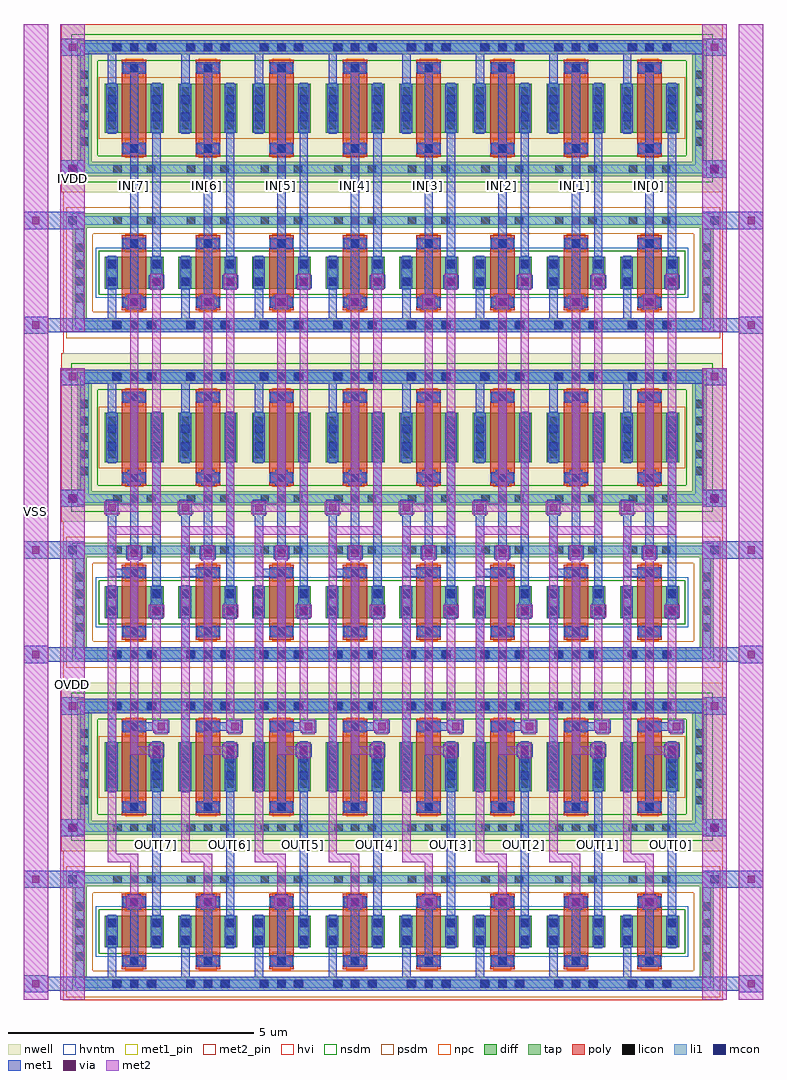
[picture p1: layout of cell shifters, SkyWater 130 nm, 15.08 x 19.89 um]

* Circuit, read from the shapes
.subckt shifters IN[0] IN[1] IN[2] IN[3] IN[4] IN[5] IN[6] IN[7] IVDD OUT[0] OUT[1] OUT[2] OUT[3] OUT[4] OUT[5] OUT[6] OUT[7] OVDD VSS
XM1 OUT[7] shifter_raw_3_0/inverter_raw_0/OUT VSS VSS sky130_fd_pr__nfet_g5v0d10v5 w=0.65 l=0.5
XM2 n1 IN[7] VSS VSS sky130_fd_pr__nfet_g5v0d10v5 w=0.65 l=0.5
XM3 shifter_raw_3_0/inverter_raw_0/OUT IN[7] VSS VSS sky130_fd_pr__nfet_g5v0d10v5 w=0.65 l=0.5
XM4 OUT[6] shifter_raw_3_1/inverter_raw_0/OUT VSS VSS sky130_fd_pr__nfet_g5v0d10v5 w=0.65 l=0.5
XM5 n2 IN[6] VSS VSS sky130_fd_pr__nfet_g5v0d10v5 w=0.65 l=0.5
XM6 shifter_raw_3_1/inverter_raw_0/OUT IN[6] VSS VSS sky130_fd_pr__nfet_g5v0d10v5 w=0.65 l=0.5
XM7 OUT[5] shifter_raw_3_2/inverter_raw_0/OUT VSS VSS sky130_fd_pr__nfet_g5v0d10v5 w=0.65 l=0.5
XM8 n3 IN[5] VSS VSS sky130_fd_pr__nfet_g5v0d10v5 w=0.65 l=0.5
XM9 shifter_raw_3_2/inverter_raw_0/OUT IN[5] VSS VSS sky130_fd_pr__nfet_g5v0d10v5 w=0.65 l=0.5
XM10 OUT[4] shifter_raw_3_3/inverter_raw_0/OUT VSS VSS sky130_fd_pr__nfet_g5v0d10v5 w=0.65 l=0.5
XM11 n4 IN[4] VSS VSS sky130_fd_pr__nfet_g5v0d10v5 w=0.65 l=0.5
XM12 shifter_raw_3_3/inverter_raw_0/OUT IN[4] VSS VSS sky130_fd_pr__nfet_g5v0d10v5 w=0.65 l=0.5
XM13 OUT[3] shifter_raw_3_4/inverter_raw_0/OUT VSS VSS sky130_fd_pr__nfet_g5v0d10v5 w=0.65 l=0.5
XM14 n5 IN[3] VSS VSS sky130_fd_pr__nfet_g5v0d10v5 w=0.65 l=0.5
XM15 shifter_raw_3_4/inverter_raw_0/OUT IN[3] VSS VSS sky130_fd_pr__nfet_g5v0d10v5 w=0.65 l=0.5
XM16 OUT[2] shifter_raw_3_5/inverter_raw_0/OUT VSS VSS sky130_fd_pr__nfet_g5v0d10v5 w=0.65 l=0.5
XM17 n6 IN[2] VSS VSS sky130_fd_pr__nfet_g5v0d10v5 w=0.65 l=0.5
XM18 shifter_raw_3_5/inverter_raw_0/OUT IN[2] VSS VSS sky130_fd_pr__nfet_g5v0d10v5 w=0.65 l=0.5
XM19 OUT[1] shifter_raw_3_6/inverter_raw_0/OUT VSS VSS sky130_fd_pr__nfet_g5v0d10v5 w=0.65 l=0.5
XM20 n7 IN[1] VSS VSS sky130_fd_pr__nfet_g5v0d10v5 w=0.65 l=0.5
XM21 shifter_raw_3_6/inverter_raw_0/OUT IN[1] VSS VSS sky130_fd_pr__nfet_g5v0d10v5 w=0.65 l=0.5
XM22 OUT[0] shifter_raw_3_7/inverter_raw_0/OUT VSS VSS sky130_fd_pr__nfet_g5v0d10v5 w=0.65 l=0.5
XM23 n8 IN[0] VSS VSS sky130_fd_pr__nfet_g5v0d10v5 w=0.65 l=0.5
XM24 shifter_raw_3_7/inverter_raw_0/OUT IN[0] VSS VSS sky130_fd_pr__nfet_g5v0d10v5 w=0.65 l=0.5
XM25 OUT[7] n1 OVDD OVDD sky130_fd_pr__pfet_g5v0d10v5 w=1 l=0.5
XM26 n1 OUT[7] OVDD OVDD sky130_fd_pr__pfet_g5v0d10v5 w=1 l=0.5
XM27 shifter_raw_3_0/inverter_raw_0/OUT IN[7] IVDD IVDD sky130_fd_pr__pfet_g5v0d10v5 w=1 l=0.5
XM28 OUT[6] n2 OVDD OVDD sky130_fd_pr__pfet_g5v0d10v5 w=1 l=0.5
XM29 n2 OUT[6] OVDD OVDD sky130_fd_pr__pfet_g5v0d10v5 w=1 l=0.5
XM30 shifter_raw_3_1/inverter_raw_0/OUT IN[6] IVDD IVDD sky130_fd_pr__pfet_g5v0d10v5 w=1 l=0.5
XM31 OUT[5] n3 OVDD OVDD sky130_fd_pr__pfet_g5v0d10v5 w=1 l=0.5
XM32 n3 OUT[5] OVDD OVDD sky130_fd_pr__pfet_g5v0d10v5 w=1 l=0.5
XM33 shifter_raw_3_2/inverter_raw_0/OUT IN[5] IVDD IVDD sky130_fd_pr__pfet_g5v0d10v5 w=1 l=0.5
XM34 OUT[4] n4 OVDD OVDD sky130_fd_pr__pfet_g5v0d10v5 w=1 l=0.5
XM35 n4 OUT[4] OVDD OVDD sky130_fd_pr__pfet_g5v0d10v5 w=1 l=0.5
XM36 shifter_raw_3_3/inverter_raw_0/OUT IN[4] IVDD IVDD sky130_fd_pr__pfet_g5v0d10v5 w=1 l=0.5
XM37 OUT[3] n5 OVDD OVDD sky130_fd_pr__pfet_g5v0d10v5 w=1 l=0.5
XM38 n5 OUT[3] OVDD OVDD sky130_fd_pr__pfet_g5v0d10v5 w=1 l=0.5
XM39 shifter_raw_3_4/inverter_raw_0/OUT IN[3] IVDD IVDD sky130_fd_pr__pfet_g5v0d10v5 w=1 l=0.5
XM40 OUT[2] n6 OVDD OVDD sky130_fd_pr__pfet_g5v0d10v5 w=1 l=0.5
XM41 n6 OUT[2] OVDD OVDD sky130_fd_pr__pfet_g5v0d10v5 w=1 l=0.5
XM42 shifter_raw_3_5/inverter_raw_0/OUT IN[2] IVDD IVDD sky130_fd_pr__pfet_g5v0d10v5 w=1 l=0.5
XM43 OUT[1] n7 OVDD OVDD sky130_fd_pr__pfet_g5v0d10v5 w=1 l=0.5
XM44 n7 OUT[1] OVDD OVDD sky130_fd_pr__pfet_g5v0d10v5 w=1 l=0.5
XM45 shifter_raw_3_6/inverter_raw_0/OUT IN[1] IVDD IVDD sky130_fd_pr__pfet_g5v0d10v5 w=1 l=0.5
XM46 OUT[0] n8 OVDD OVDD sky130_fd_pr__pfet_g5v0d10v5 w=1 l=0.5
XM47 n8 OUT[0] OVDD OVDD sky130_fd_pr__pfet_g5v0d10v5 w=1 l=0.5
XM48 shifter_raw_3_7/inverter_raw_0/OUT IN[0] IVDD IVDD sky130_fd_pr__pfet_g5v0d10v5 w=1 l=0.5
.ends

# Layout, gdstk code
import gdstk
lib = gdstk.Library(unit=1e-6, precision=1e-09)
def R(c, l, rs):  # rectangles x0, y0, x1, y1
    for r in rs: c.add(gdstk.rectangle(r[:2], r[2:], *l))
def A(c, l, x, y, w, h, nx, ny, dx, dy):  # array of equal rectangles
    R(c, l, [(x+i*dx, y+j*dy, x+i*dx+w, y+j*dy+h) for i in range(nx) for j in range(ny)])
nwell = (64, 20)
diff = (65, 20)
tap = (65, 44)
poly = (66, 20)
licon = (66, 44)
li1 = (67, 20)
mcon = (67, 44)
met1_pin = (68, 16)
met1 = (68, 20)
via = (68, 44)
met2_pin = (69, 16)
met2 = (69, 20)
hvi = (75, 20)
nsdm = (93, 44)
psdm = (94, 20)
npc = (95, 20)
hvntm = (125, 20)

transistor_pair_bus_8 = lib.new_cell('transistor_pair_bus_8')
R(transistor_pair_bus_8, nwell, [(-0.3,3.03,13.18,6.46)])
A(transistor_pair_bus_8, diff, 0.59, 1.065, 1.2, 0.65, 8, 1, 1.5, 0)
A(transistor_pair_bus_8, diff, 0.59, 4.245, 1.2, 1, 8, 1, 1.5, 0)
R(transistor_pair_bus_8, tap, [(-0.07,0.18,13,0.47), (-0.07,0.47,0.22,2.31), (12.71,0.47,13,2.31), (-0.07,2.31,13,2.6), (0.03,3.36,12.85,3.65), (0.03,3.65,0.32,5.84), (12.56,3.65,12.85,5.84), (0.03,5.84,12.85,6.13)])
A(transistor_pair_bus_8, poly, 0.94, 0.625, 0.5, 1.53, 8, 1, 1.5, 0)
A(transistor_pair_bus_8, poly, 0.94, 3.76, 0.5, 1.97, 8, 1, 1.5, 0)
A(transistor_pair_bus_8, licon, 0.765, 0.24, 0.17, 0.17, 3, 2, 0.34, 2.13)
A(transistor_pair_bus_8, licon, 2.265, 0.24, 0.17, 0.17, 3, 2, 0.34, 2.13)
A(transistor_pair_bus_8, licon, 3.765, 0.24, 0.17, 0.17, 3, 2, 0.34, 2.13)
A(transistor_pair_bus_8, licon, 5.265, 0.24, 0.17, 0.17, 3, 2, 0.34, 2.13)
A(transistor_pair_bus_8, licon, 6.765, 0.24, 0.17, 0.17, 3, 2, 0.34, 2.13)
A(transistor_pair_bus_8, licon, 8.265, 0.24, 0.17, 0.17, 3, 2, 0.34, 2.13)
A(transistor_pair_bus_8, licon, 9.765, 0.24, 0.17, 0.17, 3, 2, 0.34, 2.13)
A(transistor_pair_bus_8, licon, 11.265, 0.24, 0.17, 0.17, 3, 2, 0.34, 2.13)
A(transistor_pair_bus_8, licon, 1.105, 0.705, 0.17, 0.17, 8, 2, 1.5, 1.2)
A(transistor_pair_bus_8, licon, -0.01, 0.795, 0.17, 0.17, 1, 4, 0, 0.34)
A(transistor_pair_bus_8, licon, 12.77, 0.795, 0.17, 0.17, 1, 4, 0, 0.34)
A(transistor_pair_bus_8, licon, 0.765, 3.42, 0.17, 0.17, 3, 2, 0.34, 2.48)
A(transistor_pair_bus_8, licon, 2.265, 3.42, 0.17, 0.17, 3, 2, 0.34, 2.48)
A(transistor_pair_bus_8, licon, 3.765, 3.42, 0.17, 0.17, 3, 2, 0.34, 2.48)
A(transistor_pair_bus_8, licon, 5.265, 3.42, 0.17, 0.17, 3, 2, 0.34, 2.48)
A(transistor_pair_bus_8, licon, 6.765, 3.42, 0.17, 0.17, 3, 2, 0.34, 2.48)
A(transistor_pair_bus_8, licon, 8.265, 3.42, 0.17, 0.17, 3, 2, 0.34, 2.48)
A(transistor_pair_bus_8, licon, 9.765, 3.42, 0.17, 0.17, 3, 2, 0.34, 2.48)
A(transistor_pair_bus_8, licon, 11.265, 3.42, 0.17, 0.17, 3, 2, 0.34, 2.48)
A(transistor_pair_bus_8, licon, 1.105, 3.84, 0.17, 0.17, 8, 2, 1.5, 1.64)
A(transistor_pair_bus_8, licon, 0.09, 3.98, 0.17, 0.17, 1, 5, 0, 0.34)
A(transistor_pair_bus_8, licon, 12.62, 3.98, 0.17, 0.17, 1, 5, 0, 0.34)
A(transistor_pair_bus_8, licon, 0.65, 4.32, 0.17, 0.17, 1, 3, 0, 0.34)
A(transistor_pair_bus_8, licon, 1.56, 4.32, 0.17, 0.17, 1, 3, 0, 0.34)
A(transistor_pair_bus_8, licon, 2.15, 4.32, 0.17, 0.17, 1, 3, 0, 0.34)
A(transistor_pair_bus_8, licon, 3.06, 4.32, 0.17, 0.17, 1, 3, 0, 0.34)
A(transistor_pair_bus_8, licon, 3.65, 4.32, 0.17, 0.17, 1, 3, 0, 0.34)
A(transistor_pair_bus_8, licon, 4.56, 4.32, 0.17, 0.17, 1, 3, 0, 0.34)
A(transistor_pair_bus_8, licon, 5.15, 4.32, 0.17, 0.17, 1, 3, 0, 0.34)
A(transistor_pair_bus_8, licon, 6.06, 4.32, 0.17, 0.17, 1, 3, 0, 0.34)
A(transistor_pair_bus_8, licon, 6.65, 4.32, 0.17, 0.17, 1, 3, 0, 0.34)
A(transistor_pair_bus_8, licon, 7.56, 4.32, 0.17, 0.17, 1, 3, 0, 0.34)
A(transistor_pair_bus_8, licon, 8.15, 4.32, 0.17, 0.17, 1, 3, 0, 0.34)
A(transistor_pair_bus_8, licon, 9.06, 4.32, 0.17, 0.17, 1, 3, 0, 0.34)
A(transistor_pair_bus_8, licon, 9.65, 4.32, 0.17, 0.17, 1, 3, 0, 0.34)
A(transistor_pair_bus_8, licon, 10.56, 4.32, 0.17, 0.17, 1, 3, 0, 0.34)
A(transistor_pair_bus_8, licon, 11.15, 4.32, 0.17, 0.17, 1, 3, 0, 0.34)
A(transistor_pair_bus_8, licon, 12.06, 4.32, 0.17, 0.17, 1, 3, 0, 0.34)
R(transistor_pair_bus_8, licon, [(0.65,1.135,0.82,1.305), (1.56,1.135,1.73,1.305), (2.15,1.135,2.32,1.305), (3.06,1.135,3.23,1.305), (3.65,1.135,3.82,1.305), (4.56,1.135,4.73,1.305), (5.15,1.135,5.32,1.305), (6.06,1.135,6.23,1.305), (6.65,1.135,6.82,1.305), (7.56,1.135,7.73,1.305), (8.15,1.135,8.32,1.305), (9.06,1.135,9.23,1.305), (9.65,1.135,9.82,1.305), (10.56,1.135,10.73,1.305), (11.15,1.135,11.32,1.305), (12.06,1.135,12.23,1.305), (0.65,1.475,0.82,1.645), (1.56,1.475,1.73,1.645), (2.15,1.475,2.32,1.645), (3.06,1.475,3.23,1.645), (3.65,1.475,3.82,1.645), (4.56,1.475,4.73,1.645), (5.15,1.475,5.32,1.645), (6.06,1.475,6.23,1.645), (6.65,1.475,6.82,1.645), (7.56,1.475,7.73,1.645), (8.15,1.475,8.32,1.645), (9.06,1.475,9.23,1.645), (9.65,1.475,9.82,1.645), (10.56,1.475,10.73,1.645), (11.15,1.475,11.32,1.645), (12.06,1.475,12.23,1.645)])
A(transistor_pair_bus_8, li1, 0.94, 0.705, 0.5, 0.17, 8, 2, 1.5, 1.2)
A(transistor_pair_bus_8, li1, 0.94, 3.84, 0.5, 0.17, 8, 2, 1.5, 1.64)
R(transistor_pair_bus_8, li1, [(-0.01,0.24,12.94,0.41), (-0.01,0.41,0.16,2.37), (12.77,0.41,12.94,2.37), (0.65,1.045,0.82,1.735), (1.56,1.045,1.73,1.735), (2.15,1.045,2.32,1.735), (3.06,1.045,3.23,1.735), (3.65,1.045,3.82,1.735), (4.56,1.045,4.73,1.735), (5.15,1.045,5.32,1.735), (6.06,1.045,6.23,1.735), (6.65,1.045,6.82,1.735), (7.56,1.045,7.73,1.735), (8.15,1.045,8.32,1.735), (9.06,1.045,9.23,1.735), (9.65,1.045,9.82,1.735), (10.56,1.045,10.73,1.735), (11.15,1.045,11.32,1.735), (12.06,1.045,12.23,1.735), (-0.01,2.37,12.94,2.54), (0.09,3.42,12.79,3.59), (0.09,3.59,0.26,5.9), (12.62,3.59,12.79,5.9), (0.65,4.225,0.82,5.265), (1.56,4.225,1.73,5.265), (2.15,4.225,2.32,5.265), (3.06,4.225,3.23,5.265), (3.65,4.225,3.82,5.265), (4.56,4.225,4.73,5.265), (5.15,4.225,5.32,5.265), (6.06,4.225,6.23,5.265), (6.65,4.225,6.82,5.265), (7.56,4.225,7.73,5.265), (8.15,4.225,8.32,5.265), (9.06,4.225,9.23,5.265), (9.65,4.225,9.82,5.265), (10.56,4.225,10.73,5.265), (11.15,4.225,11.32,5.265), (12.06,4.225,12.23,5.265), (0.09,5.9,12.79,6.07)])
A(transistor_pair_bus_8, mcon, 0.745, 0.24, 0.17, 0.17, 3, 2, 0.36, 5.66)
A(transistor_pair_bus_8, mcon, 2.245, 0.24, 0.17, 0.17, 3, 2, 0.36, 5.66)
A(transistor_pair_bus_8, mcon, 3.745, 0.24, 0.17, 0.17, 3, 2, 0.36, 5.66)
A(transistor_pair_bus_8, mcon, 5.245, 0.24, 0.17, 0.17, 3, 2, 0.36, 5.66)
A(transistor_pair_bus_8, mcon, 6.745, 0.24, 0.17, 0.17, 3, 2, 0.36, 5.66)
A(transistor_pair_bus_8, mcon, 8.245, 0.24, 0.17, 0.17, 3, 2, 0.36, 5.66)
A(transistor_pair_bus_8, mcon, 9.745, 0.24, 0.17, 0.17, 3, 2, 0.36, 5.66)
A(transistor_pair_bus_8, mcon, 11.245, 0.24, 0.17, 0.17, 3, 2, 0.36, 5.66)
A(transistor_pair_bus_8, mcon, 1.105, 0.705, 0.17, 0.17, 8, 2, 1.5, 1.2)
A(transistor_pair_bus_8, mcon, 1.105, 3.84, 0.17, 0.17, 8, 2, 1.5, 1.64)
R(transistor_pair_bus_8, mcon, [(0.65,1.125,0.82,1.295), (1.56,1.125,1.73,1.295), (2.15,1.125,2.32,1.295), (3.06,1.125,3.23,1.295), (3.65,1.125,3.82,1.295), (4.56,1.125,4.73,1.295), (5.15,1.125,5.32,1.295), (6.06,1.125,6.23,1.295), (6.65,1.125,6.82,1.295), (7.56,1.125,7.73,1.295), (8.15,1.125,8.32,1.295), (9.06,1.125,9.23,1.295), (9.65,1.125,9.82,1.295), (10.56,1.125,10.73,1.295), (11.15,1.125,11.32,1.295), (12.06,1.125,12.23,1.295), (0.65,1.485,0.82,1.655), (1.56,1.485,1.73,1.655), (2.15,1.485,2.32,1.655), (3.06,1.485,3.23,1.655), (3.65,1.485,3.82,1.655), (4.56,1.485,4.73,1.655), (5.15,1.485,5.32,1.655), (6.06,1.485,6.23,1.655), (6.65,1.485,6.82,1.655), (7.56,1.485,7.73,1.655), (8.15,1.485,8.32,1.655), (9.06,1.485,9.23,1.655), (9.65,1.485,9.82,1.655), (10.56,1.485,10.73,1.655), (11.15,1.485,11.32,1.655), (12.06,1.485,12.23,1.655), (0.65,4.48,0.82,4.65), (1.56,4.48,1.73,4.65), (2.15,4.48,2.32,4.65), (3.06,4.48,3.23,4.65), (3.65,4.48,3.82,4.65), (4.56,4.48,4.73,4.65), (5.15,4.48,5.32,4.65), (6.06,4.48,6.23,4.65), (6.65,4.48,6.82,4.65), (7.56,4.48,7.73,4.65), (8.15,4.48,8.32,4.65), (9.06,4.48,9.23,4.65), (9.65,4.48,9.82,4.65), (10.56,4.48,10.73,4.65), (11.15,4.48,11.32,4.65), (12.06,4.48,12.23,4.65), (0.65,4.84,0.82,5.01), (1.56,4.84,1.73,5.01), (2.15,4.84,2.32,5.01), (3.06,4.84,3.23,5.01), (3.65,4.84,3.82,5.01), (4.56,4.84,4.73,5.01), (5.15,4.84,5.32,5.01), (6.06,4.84,6.23,5.01), (6.65,4.84,6.82,5.01), (7.56,4.84,7.73,5.01), (8.15,4.84,8.32,5.01), (9.06,4.84,9.23,5.01), (9.65,4.84,9.82,5.01), (10.56,4.84,10.73,5.01), (11.15,4.84,11.32,5.01), (12.06,4.84,12.23,5.01)])
R(transistor_pair_bus_8, met1_pin, [(0.44,0.18,12.44,0.47), (0.44,5.84,12.44,6.13)])
A(transistor_pair_bus_8, met1, 0.96, 0.675, 0.46, 0.23, 8, 2, 1.5, 1.2)
A(transistor_pair_bus_8, met1, 1.105, 0.905, 0.17, 0.97, 8, 1, 1.5, 0)
A(transistor_pair_bus_8, met1, 0.96, 3.81, 0.46, 0.23, 8, 2, 1.5, 1.64)
A(transistor_pair_bus_8, met1, 1.105, 4.04, 0.17, 1.41, 8, 1, 1.5, 0)
R(transistor_pair_bus_8, met1, [(0.44,0.18,12.44,0.47), (0.65,1.045,0.82,1.065), (1.56,1.045,1.73,1.065), (2.15,1.045,2.32,1.065), (3.06,1.045,3.23,1.065), (3.65,1.045,3.82,1.065), (4.56,1.045,4.73,1.065), (5.15,1.045,5.32,1.065), (6.06,1.045,6.23,1.065), (6.65,1.045,6.82,1.065), (7.56,1.045,7.73,1.065), (8.15,1.045,8.32,1.065), (9.06,1.045,9.23,1.065), (9.65,1.045,9.82,1.065), (10.56,1.045,10.73,1.065), (11.15,1.045,11.32,1.065), (12.06,1.045,12.23,1.065), (0.62,1.065,0.85,1.715), (1.53,1.065,1.76,1.715), (2.12,1.065,2.35,1.715), (3.03,1.065,3.26,1.715), (3.62,1.065,3.85,1.715), (4.53,1.065,4.76,1.715), (5.12,1.065,5.35,1.715), (6.03,1.065,6.26,1.715), (6.62,1.065,6.85,1.715), (7.53,1.065,7.76,1.715), (8.12,1.065,8.35,1.715), (9.03,1.065,9.26,1.715), (9.62,1.065,9.85,1.715), (10.53,1.065,10.76,1.715), (11.12,1.065,11.35,1.715), (12.03,1.065,12.26,1.715), (0.65,1.715,0.82,1.735), (1.56,1.715,1.73,1.735), (2.15,1.715,2.32,1.735), (3.06,1.715,3.23,1.735), (3.65,1.715,3.82,1.735), (4.56,1.715,4.73,1.735), (5.15,1.715,5.32,1.735), (6.06,1.715,6.23,1.735), (6.65,1.715,6.82,1.735), (7.56,1.715,7.73,1.735), (8.15,1.715,8.32,1.735), (9.06,1.715,9.23,1.735), (9.65,1.715,9.82,1.735), (10.56,1.715,10.73,1.735), (11.15,1.715,11.32,1.735), (12.06,1.715,12.23,1.735), (0.65,4.225,0.82,4.245), (1.56,4.225,1.73,4.245), (2.15,4.225,2.32,4.245), (3.06,4.225,3.23,4.245), (3.65,4.225,3.82,4.245), (4.56,4.225,4.73,4.245), (5.15,4.225,5.32,4.245), (6.06,4.225,6.23,4.245), (6.65,4.225,6.82,4.245), (7.56,4.225,7.73,4.245), (8.15,4.225,8.32,4.245), (9.06,4.225,9.23,4.245), (9.65,4.225,9.82,4.245), (10.56,4.225,10.73,4.245), (11.15,4.225,11.32,4.245), (12.06,4.225,12.23,4.245), (0.62,4.245,0.85,5.245), (1.53,4.245,1.76,5.245), (2.12,4.245,2.35,5.245), (3.03,4.245,3.26,5.245), (3.62,4.245,3.85,5.245), (4.53,4.245,4.76,5.245), (5.12,4.245,5.35,5.245), (6.03,4.245,6.26,5.245), (6.62,4.245,6.85,5.245), (7.53,4.245,7.76,5.245), (8.12,4.245,8.35,5.245), (9.03,4.245,9.26,5.245), (9.62,4.245,9.85,5.245), (10.53,4.245,10.76,5.245), (11.12,4.245,11.35,5.245), (12.03,4.245,12.26,5.245), (0.65,5.245,0.82,5.265), (1.56,5.245,1.73,5.265), (2.15,5.245,2.32,5.265), (3.06,5.245,3.23,5.265), (3.65,5.245,3.82,5.265), (4.56,5.245,4.73,5.265), (5.15,5.245,5.32,5.265), (6.06,5.245,6.23,5.265), (6.65,5.245,6.82,5.265), (7.56,5.245,7.73,5.265), (8.15,5.245,8.32,5.265), (9.06,5.245,9.23,5.265), (9.65,5.245,9.82,5.265), (10.56,5.245,10.73,5.265), (11.15,5.245,11.32,5.265), (12.06,5.245,12.23,5.265), (0.44,5.84,12.44,6.13)])
R(transistor_pair_bus_8, hvi, [(-0.255,-0.005,13.185,2.785), (-0.255,2.785,13.18,3.03), (-0.3,3.03,13.18,6.46)])
R(transistor_pair_bus_8, nsdm, [(0.465,0.94,12.415,1.84), (-0.095,3.235,12.975,3.775), (-0.095,3.775,0.445,5.715), (12.435,3.775,12.975,5.715), (-0.095,5.715,12.975,6.255)])
R(transistor_pair_bus_8, psdm, [(-0.195,0.055,13.125,0.595), (-0.195,0.595,0.345,2.185), (12.585,0.595,13.125,2.185), (-0.195,2.185,13.125,2.725), (0.465,4.12,12.415,5.37)])
A(transistor_pair_bus_8, npc, 1.005, 0.605, 0.37, 0.37, 8, 2, 1.5, 1.2)
A(transistor_pair_bus_8, npc, 1.005, 3.74, 0.37, 0.37, 8, 2, 1.5, 1.64)
R(transistor_pair_bus_8, hvntm, [(0.405,0.88,12.475,1.9)])
transistor_pair_bus_8.add(gdstk.Label('VDD', (6.44,5.985), layer=68, texttype=5))
transistor_pair_bus_8.add(gdstk.Label('VSS', (6.44,0.325), layer=68, texttype=5))

inverter_raw = lib.new_cell('inverter_raw')
R(inverter_raw, met1_pin, [(0.44,0.18,1.94,0.47), (1.105,0.705,1.275,5.65), (1.56,1.045,1.73,5.265), (0.44,5.84,1.94,6.13)])
R(inverter_raw, met1, [(0.44,0.18,1.94,0.47), (0.65,0.47,0.82,1.735), (1.105,0.705,1.275,5.65), (1.56,1.045,1.73,5.265), (0.65,4.225,0.82,5.84), (0.44,5.84,1.94,6.13)])
inverter_raw.add(gdstk.Label('IN', (1.19,3.177), layer=68, texttype=5))
inverter_raw.add(gdstk.Label('OUT', (1.645,3.155), layer=68, texttype=5))
inverter_raw.add(gdstk.Label('VDD', (1.19,5.985), layer=68, texttype=5))
inverter_raw.add(gdstk.Label('VSS', (1.19,0.325), layer=68, texttype=5))

shifter_raw = lib.new_cell('shifter_raw')
R(shifter_raw, met1_pin, [(0.44,0.18,1.94,0.47), (1.56,1.045,1.73,5.265), (0.44,5.84,1.94,6.13), (0.44,6.89,1.94,7.18), (0.44,12.55,1.94,12.84), (0.44,13.6,1.94,13.89), (1.105,14.125,1.275,19.07), (0.44,19.26,1.94,19.55)])
R(shifter_raw, met1, [(0.44,0.18,1.94,0.47), (0.65,0.47,0.82,1.735), (1.56,1.045,1.73,4.95), (1.06,1.83,1.32,2.15), (0.65,4.225,0.82,5.84), (1.485,4.95,1.805,5.21), (1.56,5.21,1.73,5.265), (1.58,5.435,1.9,5.48), (1.1,5.48,1.9,5.65), (1.58,5.65,1.9,5.695), (0.44,5.84,1.94,6.13), (0.44,6.89,1.94,7.18), (0.65,7.18,0.82,8.445), (1.56,7.755,1.73,7.76), (1.515,7.76,1.775,8.08), (1.56,8.08,1.73,11.975), (0.65,8.615,1.27,8.785), (0.65,8.785,0.82,9.865), (1.03,8.975,1.35,9.235), (1.105,9.235,1.275,10.475), (0.605,9.865,0.865,10.185), (1.06,10.475,1.32,10.795), (0.65,10.935,0.82,12.55), (0.44,12.55,1.94,12.84), (0.44,13.6,1.94,13.89), (1.03,14.08,1.35,14.34), (1.105,14.34,1.275,19.1), (1.485,14.5,1.805,14.76), (0.44,19.26,1.94,19.55)])
R(shifter_raw, via, [(1.115,1.915,1.265,2.065), (1.57,5.005,1.72,5.155), (1.665,5.49,1.815,5.64), (1.57,7.845,1.72,7.995), (1.115,9.03,1.265,9.18), (0.66,9.95,0.81,10.1), (1.115,14.135,1.265,14.285), (1.57,14.555,1.72,14.705)])
R(shifter_raw, met2, [(1.03,1.86,1.35,2.12), (1.105,2.12,1.275,2.805), (0.65,2.805,1.275,2.975), (0.65,2.975,0.82,9.475), (1.515,4.92,1.775,4.995), (1.105,4.995,1.775,5.165), (1.105,5.165,1.275,8.945), (1.515,5.165,1.775,5.24), (1.61,5.405,1.87,5.48), (1.56,5.48,1.87,5.725), (1.56,5.725,1.73,7.79), (1.485,7.79,1.805,8.05), (1.06,8.945,1.32,9.265), (0.65,9.475,1.73,9.645), (1.56,9.645,1.73,14.47), (0.575,9.895,0.895,9.94), (0.575,9.94,1.275,10.11), (0.575,10.11,0.895,10.155), (1.105,10.11,1.275,14.05), (1.06,14.05,1.32,14.37), (1.515,14.47,1.775,14.79)])
shifter_raw.add(gdstk.Reference(inverter_raw, (0,13.42)))
shifter_raw.add(gdstk.Label('IN', (1.19,16.597), layer=68, texttype=5))
shifter_raw.add(gdstk.Label('IVDD', (1.19,19.405), layer=68, texttype=5))
shifter_raw.add(gdstk.Label('OUT', (1.645,3.155), layer=68, texttype=5))
shifter_raw.add(gdstk.Label('OVDD1', (1.19,12.695), layer=68, texttype=5))
shifter_raw.add(gdstk.Label('OVDD2', (1.19,5.985), layer=68, texttype=5))
shifter_raw.add(gdstk.Label('VSS0', (1.19,13.745), layer=68, texttype=5))
shifter_raw.add(gdstk.Label('VSS1', (1.19,7.035), layer=68, texttype=5))
shifter_raw.add(gdstk.Label('VSS2', (1.19,0.325), layer=68, texttype=5))

shifters = lib.new_cell('shifters')
R(shifters, li1, [(-0.315,2.28,0.185,2.37), (12.76,2.28,13.26,2.37), (-0.315,2.37,0.62,2.54), (12.26,2.37,13.26,2.54), (-0.315,2.54,0.185,2.63), (12.76,2.54,13.26,2.63), (-0.315,3.33,0.185,3.42), (12.76,3.33,13.26,3.42), (-0.315,3.42,0.62,3.59), (12.26,3.42,13.26,3.59), (-0.315,3.59,0.185,3.68), (12.76,3.59,13.26,3.68), (-0.315,8.99,0.185,9.08), (12.76,8.99,13.26,9.08), (-0.315,9.08,0.62,9.25), (12.26,9.08,13.26,9.25), (-0.315,9.25,0.185,9.34), (12.76,9.25,13.26,9.34), (-0.315,10.04,0.185,10.13), (12.76,10.04,13.26,10.13), (-0.315,10.13,0.62,10.3), (12.26,10.13,13.26,10.3), (-0.315,10.3,0.185,10.39), (12.76,10.3,13.26,10.39), (-0.315,15.7,0.185,15.79), (12.76,15.7,13.26,15.79), (-0.315,15.79,0.62,15.96), (12.26,15.79,13.26,15.96), (-0.315,15.96,0.185,16.05), (12.76,15.96,13.26,16.05), (-0.315,16.75,0.185,16.84), (12.76,16.75,13.26,16.84), (-0.315,16.84,0.62,17.01), (12.26,16.84,13.26,17.01), (-0.315,17.01,0.185,17.1), (12.76,17.01,13.26,17.1)])
R(shifters, mcon, [(-0.15,2.37,0.02,2.54), (12.925,2.37,13.095,2.54), (-0.15,3.42,0.02,3.59), (12.925,3.42,13.095,3.59), (-0.15,9.08,0.02,9.25), (12.925,9.08,13.095,9.25), (-0.15,10.13,0.02,10.3), (12.925,10.13,13.095,10.3), (-0.15,15.79,0.02,15.96), (12.925,15.79,13.095,15.96), (-0.15,16.84,0.02,17.01), (12.925,16.84,13.095,17.01)])
A(shifters, met1_pin, 1.56, 1.045, 0.17, 4.22, 8, 1, 1.5, 0)
A(shifters, met1_pin, 1.105, 14.095, 0.17, 5.005, 8, 1, 1.5, 0)
A(shifters, met1, -1.065, 0.18, 15.075, 0.29, 1, 3, 0, 6.71)
A(shifters, met1, 1.56, 1.045, 0.17, 4.22, 8, 1, 1.5, 0)
A(shifters, met1, -1.065, 2.28, 1.25, 0.35, 1, 3, 0, 6.71)
A(shifters, met1, 12.76, 2.28, 1.25, 0.35, 1, 3, 0, 6.71)
A(shifters, met1, -0.315, 3.33, 0.5, 0.35, 1, 3, 0, 6.71)
A(shifters, met1, 12.76, 3.33, 0.5, 0.35, 1, 3, 0, 6.71)
A(shifters, met1, -0.315, 5.84, 13.575, 0.29, 1, 3, 0, 6.71)
A(shifters, met1, 1.105, 14.095, 0.17, 5.005, 8, 1, 1.5, 0)
R(shifters, met1, [(-1.065,0.15,-0.565,0.18), (13.51,0.15,14.01,0.18), (-1.065,0.47,-0.565,0.5), (13.51,0.47,14.01,0.5), (-0.315,5.81,0.185,5.84), (12.76,5.81,13.26,5.84), (-0.315,6.13,0.185,6.16), (12.76,6.13,13.26,6.16), (-1.065,6.86,-0.565,6.89), (13.51,6.86,14.01,6.89), (-1.065,7.18,-0.565,7.21), (13.51,7.18,14.01,7.21), (-0.315,12.52,0.185,12.55), (12.76,12.52,13.26,12.55), (-0.315,12.84,0.185,12.87), (12.76,12.84,13.26,12.87), (-1.065,13.57,-0.565,13.6), (13.51,13.57,14.01,13.6), (-1.065,13.89,-0.565,13.92), (13.51,13.89,14.01,13.92), (-0.315,19.23,0.185,19.26), (12.76,19.23,13.26,19.26), (-0.315,19.55,0.185,19.58), (12.76,19.55,13.26,19.58)])
R(shifters, via, [(-0.89,0.25,-0.74,0.4), (13.685,0.25,13.835,0.4), (-0.89,2.38,-0.74,2.53), (13.685,2.38,13.835,2.53), (-0.14,3.43,0.01,3.58), (12.935,3.43,13.085,3.58), (-0.14,5.91,0.01,6.06), (12.935,5.91,13.085,6.06), (-0.89,6.96,-0.74,7.11), (13.685,6.96,13.835,7.11), (-0.89,9.09,-0.74,9.24), (13.685,9.09,13.835,9.24), (-0.14,10.14,0.01,10.29), (12.935,10.14,13.085,10.29), (-0.14,12.62,0.01,12.77), (12.935,12.62,13.085,12.77), (-0.89,13.67,-0.74,13.82), (13.685,13.67,13.835,13.82), (-0.89,15.8,-0.74,15.95), (13.685,15.8,13.835,15.95), (-0.14,16.85,0.01,17), (12.935,16.85,13.085,17), (-0.14,19.33,0.01,19.48), (12.935,19.33,13.085,19.48)])
R(shifters, met2_pin, [(-1.065,0,-0.565,19.88), (-0.315,0,0.185,12.84), (-0.315,13.605,0.185,19.88)])
R(shifters, met2, [(-1.065,0,-0.565,19.88), (-0.315,0,0.185,12.87), (12.76,0,13.26,12.87), (13.51,0,14.01,19.88), (-0.315,13.605,0.185,19.88), (12.76,13.605,13.26,19.88)])
R(shifters, hvi, [(-0.255,6.46,13.18,6.705), (-0.255,13.17,13.18,13.415)])
shifters.add(gdstk.Reference(transistor_pair_bus_8, (0,13.42)))
shifters.add(gdstk.Reference(transistor_pair_bus_8, (0,6.71)))
shifters.add(gdstk.Reference(transistor_pair_bus_8, (0,0)))
r = gdstk.Reference(shifter_raw, (0,0)); r.repetition = gdstk.Repetition(8, 1, v1=(1.5,0), v2=(0,30.635)); shifters.add(r)
shifters.add(gdstk.Label('IN[0]', (11.69,16.597), layer=68, texttype=5))
shifters.add(gdstk.Label('IN[1]', (10.19,16.597), layer=68, texttype=5))
shifters.add(gdstk.Label('IN[2]', (8.69,16.597), layer=68, texttype=5))
shifters.add(gdstk.Label('IN[3]', (7.19,16.597), layer=68, texttype=5))
shifters.add(gdstk.Label('IN[4]', (5.69,16.597), layer=68, texttype=5))
shifters.add(gdstk.Label('IN[5]', (4.19,16.597), layer=68, texttype=5))
shifters.add(gdstk.Label('IN[6]', (2.69,16.597), layer=68, texttype=5))
shifters.add(gdstk.Label('IN[7]', (1.19,16.597), layer=68, texttype=5))
shifters.add(gdstk.Label('OUT[0]', (12.145,3.155), layer=68, texttype=5))
shifters.add(gdstk.Label('OUT[1]', (10.645,3.155), layer=68, texttype=5))
shifters.add(gdstk.Label('OUT[2]', (9.145,3.155), layer=68, texttype=5))
shifters.add(gdstk.Label('OUT[3]', (7.645,3.155), layer=68, texttype=5))
shifters.add(gdstk.Label('OUT[4]', (6.145,3.155), layer=68, texttype=5))
shifters.add(gdstk.Label('OUT[5]', (4.645,3.155), layer=68, texttype=5))
shifters.add(gdstk.Label('OUT[6]', (3.145,3.155), layer=68, texttype=5))
shifters.add(gdstk.Label('OUT[7]', (1.645,3.155), layer=68, texttype=5))
shifters.add(gdstk.Label('VSS', (-0.815,9.94), layer=69, texttype=5))
shifters.add(gdstk.Label('IVDD', (-0.065,16.742), layer=69, texttype=5))
shifters.add(gdstk.Label('OVDD', (-0.065,6.42), layer=69, texttype=5))

lib.write_gds('shifters.gds')
